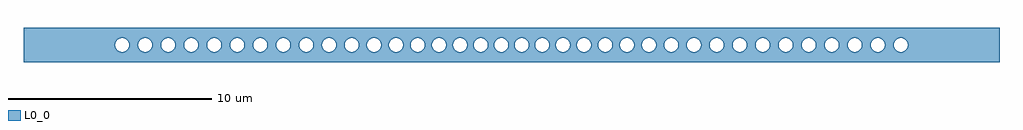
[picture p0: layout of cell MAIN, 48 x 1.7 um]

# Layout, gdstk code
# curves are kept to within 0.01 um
import gdstk
lib = gdstk.Library(unit=1e-6, precision=1e-09)
def P(c, l, *ps):  # polygons
    for p in ps: c.add(gdstk.Polygon(p, *l))
L0_0 = (0, 0)

main = lib.new_cell('MAIN')
P(main, L0_0, [(-19.181,-0.352),(-19.303,-0.318),(-19.409,-0.239),(-19.409,-0.85),(-19.181,-0.85)],
  [(-19.171,0.353),(-19.04,0.337),(-18.924,0.274),(-18.842,0.177),(-18.802,0.068),(-18.802,0.85),(-19.181,0.85),(-19.181,0.352)],
  [(-18.802,-0.068),(-18.842,-0.177),(-18.924,-0.274),(-19.04,-0.337),(-19.181,-0.352),(-19.181,-0.85),(-18.802,-0.85)],
  [(24,0.85),(19.411,0.85),(19.411,0.237),(19.479,0.125),(19.502,0.016),(19.483,-0.115),(19.411,-0.237),(19.411,-0.85),(24,-0.85)],
  [(-18.112,0.34),(-17.991,0.353),(-17.859,0.317),(-17.757,0.241),(-17.689,0.134),(-17.689,0.85),(-18.122,0.85),(-18.122,0.337)],
  [(-17.689,-0.134),(-17.757,-0.241),(-17.859,-0.317),(-17.991,-0.353),(-18.122,-0.337),(-18.122,-0.85),(-17.689,-0.85)],
  [(-17.663,-0.011),(-17.689,-0.134),(-17.689,-0.85),(-17.057,-0.85),(-17.057,-0.308),(-17.126,-0.258),(-17.186,-0.184),(-17.221,-0.107),(-17.237,-0.019),(-17.227,0.087),(-17.199,0.161),(-17.141,0.243),(-17.057,0.308),(-17.057,0.85),(-17.689,0.85),(-17.689,0.134)],
  [(-17.048,0.313),(-16.943,0.349),(-16.801,0.344),(-16.685,0.293),(-16.592,0.2),(-16.592,0.85),(-17.057,0.85)],
  [(-16.592,-0.2),(-16.685,-0.293),(-16.801,-0.344),(-16.943,-0.349),(-17.057,-0.308),(-17.057,-0.85),(-16.592,-0.85)],
  [(-16.53,-0.011),(-16.549,-0.115),(-16.592,-0.2),(-16.592,-0.85),(-15.986,-0.85),(-15.986,-0.265),(-16.069,-0.156),(-16.105,-0.019),(-16.1,0.061),(-16.073,0.147),(-15.986,0.265),(-15.986,0.85),(-16.592,0.85),(-16.592,0.2),(-16.544,0.099)],
  [(-15.977,0.272),(-15.882,0.329),(-15.747,0.354),(-15.618,0.328),(-15.508,0.256),(-15.508,0.85),(-15.986,0.85)],
  [(-15.508,-0.256),(-15.618,-0.328),(-15.747,-0.354),(-15.882,-0.329),(-15.986,-0.265),(-15.986,-0.85),(-15.508,-0.85)],
  [(-18.37,0.003),(-18.35,0.117),(-18.297,0.215),(-18.23,0.282),(-18.122,0.337),(-18.122,0.85),(-18.802,0.85),(-18.795,0)],
  [(-14.897,0.219),(-14.802,0.303),(-14.679,0.349),(-14.536,0.344),(-14.434,0.301),(-14.434,0.85),(-14.9,0.85)],
  [(-14.434,-0.301),(-14.536,-0.344),(-14.679,-0.349),(-14.807,-0.3),(-14.9,-0.215),(-14.9,-0.85),(-14.434,-0.85)],
  [(-14.973,0.003),(-14.953,0.117),(-14.9,0.215),(-14.9,0.85),(-15.508,0.85),(-15.508,0.256),(-15.426,0.139),(-15.398,0)],
  [(-13.804,0.156),(-13.729,0.258),(-13.618,0.329),(-13.488,0.354),(-13.364,0.331),(-13.364,0.85),(-13.806,0.85)],
  [(-13.364,-0.331),(-13.488,-0.354),(-13.618,-0.329),(-13.729,-0.258),(-13.806,-0.151),(-13.806,-0.85),(-13.364,-0.85)],
  [(-13.133,-0.011),(-13.152,-0.115),(-13.204,-0.213),(-13.288,-0.293),(-13.364,-0.331),(-13.364,-0.85),(-12.699,-0.85),(-12.699,0.85),(-13.364,0.85),(-13.364,0.331),(-13.263,0.274),(-13.195,0.2),(-13.152,0.115)],
  [(-12.697,0.087),(-12.645,0.202),(-12.56,0.288),(-12.43,0.346),(-12.303,0.35),(-12.303,0.85),(-12.699,0.85)],
  [(-12.303,-0.35),(-12.43,-0.346),(-12.56,-0.288),(-12.645,-0.202),(-12.699,-0.081),(-12.699,-0.85),(-12.303,-0.85)],
  [(-13.84,0.003),(-13.806,0.151),(-13.806,0.85),(-14.434,0.85),(-14.434,0.301),(-14.36,0.241),(-14.313,0.177),(-14.278,0.094),(-14.266,0)],
  [(-11.575,0.019),(-11.544,0.147),(-11.483,0.239),(-11.377,0.318),(-11.245,0.353),(-11.245,0.85),(-11.576,0.85)],
  [(-11.245,-0.353),(-11.377,-0.318),(-11.483,-0.239),(-11.544,-0.147),(-11.576,-0.013),(-11.576,-0.85),(-11.245,-0.85)],
  [(-11.234,0.353),(-11.114,0.337),(-10.998,0.274),(-10.916,0.177),(-10.873,0.053),(-10.873,0.85),(-11.245,0.85),(-11.245,0.353)],
  [(-10.873,-0.053),(-10.916,-0.177),(-10.998,-0.274),(-11.114,-0.337),(-11.245,-0.353),(-11.245,-0.85),(-10.873,-0.85)],
  [(-10.869,-0.011),(-10.873,-0.85),(-10.188,-0.85),(-10.188,-0.34),(-10.298,-0.288),(-10.374,-0.215),(-10.423,-0.127),(-10.446,-0.019),(-10.43,0.107),(-10.374,0.215),(-10.298,0.288),(-10.188,0.34),(-10.188,0.85),(-10.873,0.85)],
  [(-10.178,0.343),(-10.046,0.351),(-9.935,0.317),(-9.837,0.245),(-9.762,0.125),(-9.762,0.85),(-10.188,0.85),(-10.188,0.34)],
  [(-9.762,-0.125),(-9.837,-0.245),(-9.935,-0.317),(-10.067,-0.353),(-10.188,-0.34),(-10.188,-0.85),(-9.762,-0.85)],
  [(-11.576,0.003),(-11.576,0.85),(-12.303,0.85),(-12.303,0.35),(-12.179,0.307),(-12.078,0.221),(-12.02,0.115),(-12.001,0)],
  [(-9.12,0.32),(-8.993,0.353),(-8.872,0.34),(-8.767,0.29),(-8.672,0.191),(-8.672,0.85),(-9.13,0.85),(-9.13,0.315)],
  [(-8.672,-0.191),(-8.767,-0.29),(-8.872,-0.34),(-9.014,-0.351),(-9.13,-0.315),(-9.13,-0.85),(-8.672,-0.85)],
  [(-9.324,0.003),(-9.312,0.092),(-9.272,0.184),(-9.212,0.258),(-9.13,0.315),(-9.13,0.85),(-9.762,0.85),(-9.762,0.125),(-9.739,0)],
  [(-8.072,0.282),(-7.949,0.342),(-7.833,0.353),(-7.701,0.317),(-7.604,0.245),(-7.604,0.85),(-8.081,0.85)],
  [(-7.604,-0.245),(-7.701,-0.317),(-7.833,-0.353),(-7.969,-0.336),(-8.081,-0.275),(-8.081,-0.85),(-7.604,-0.85)],
  [(-7.505,-0.011),(-7.54,-0.154),(-7.604,-0.245),(-7.604,-0.85),(-7.035,-0.85),(-7.035,-0.223),(-7.093,-0.122),(-7.114,-0.024),(-7.098,0.107),(-7.035,0.223),(-7.035,0.85),(-7.604,0.85),(-7.604,0.245),(-7.524,0.115)],
  [(-7.032,0.227),(-6.944,0.303),(-6.82,0.349),(-6.678,0.344),(-6.562,0.293),(-6.562,0.85),(-7.035,0.85)],
  [(-6.562,-0.293),(-6.678,-0.344),(-6.82,-0.349),(-6.944,-0.303),(-7.035,-0.223),(-7.035,-0.85),(-6.562,-0.85)],
  [(-8.212,0.003),(-8.183,0.142),(-8.14,0.215),(-8.081,0.275),(-8.081,0.85),(-8.672,0.85),(-8.672,0.191),(-8.629,0.094),(-8.617,0)],
  [(-5.988,0.17),(-5.921,0.258),(-5.809,0.329),(-5.675,0.354),(-5.545,0.328),(-5.545,0.85),(-5.991,0.85)],
  [(-5.545,-0.328),(-5.675,-0.354),(-5.809,-0.329),(-5.921,-0.258),(-5.991,-0.166),(-5.991,-0.85),(-5.545,-0.85)],
  [(-6.032,0.003),(-6.019,0.097),(-5.991,0.166),(-5.991,0.85),(-6.562,0.85),(-6.562,0.293),(-6.452,0.173),(-6.417,0.084),(-6.407,0)],
  [(-4.951,0.102),(-4.891,0.219),(-4.796,0.303),(-4.683,0.347),(-4.551,0.348),(-4.551,0.85),(-4.953,0.85)],
  [(-4.551,-0.348),(-4.683,-0.347),(-4.796,-0.303),(-4.891,-0.219),(-4.953,-0.097),(-4.953,-0.85),(-4.551,-0.85)],
  [(-4.966,0.003),(-4.953,0.097),(-4.953,0.85),(-5.545,0.85),(-5.545,0.328),(-5.455,0.274),(-5.387,0.2),(-5.342,0.109),(-5.325,0)],
  [(-3.916,0.029),(-3.888,0.142),(-3.806,0.258),(-3.699,0.327),(-3.57,0.353),(-3.57,0.85),(-3.916,0.85)],
  [(-3.57,-0.353),(-3.699,-0.327),(-3.806,-0.258),(-3.888,-0.142),(-3.916,-0.024),(-3.916,-0.85),(-3.57,-0.85)],
  [(-3.56,0.354),(-3.43,0.328),(-3.324,0.26),(-3.252,0.168),(-3.213,0.042),(-3.213,0.85),(-3.57,0.85),(-3.57,0.353)],
  [(-3.213,-0.042),(-3.252,-0.168),(-3.34,-0.274),(-3.455,-0.337),(-3.57,-0.353),(-3.57,-0.85),(-3.213,-0.85)],
  [(-3.917,0.003),(-3.916,0.85),(-4.551,0.85),(-4.551,0.348),(-4.437,0.307),(-4.34,0.225),(-4.278,0.115),(-4.259,0)],
  [(-2.6,0.347),(-2.484,0.351),(-2.354,0.307),(-2.247,0.213),(-2.194,0.109),(-2.194,0.85),(-2.61,0.85),(-2.61,0.344)],
  [(-2.194,-0.109),(-2.247,-0.213),(-2.354,-0.307),(-2.484,-0.351),(-2.61,-0.344),(-2.61,-0.85),(-2.194,-0.85)],
  [(-2.177,-0.011),(-2.194,-0.109),(-2.194,-0.85),(-1.66,-0.85),(-1.66,-0.32),(-1.728,-0.279),(-1.8,-0.202),(-1.844,-0.117),(-1.863,-0.024),(-1.853,0.087),(-1.815,0.179),(-1.752,0.258),(-1.66,0.32),(-1.66,0.85),(-2.194,0.85),(-2.194,0.109)],
  [(-1.65,0.324),(-1.532,0.353),(-1.402,0.337),(-1.286,0.274),(-1.204,0.177),(-1.204,0.85),(-1.66,0.85),(-1.66,0.32)],
  [(-1.204,-0.177),(-1.286,-0.274),(-1.402,-0.337),(-1.532,-0.353),(-1.66,-0.32),(-1.66,-0.85),(-1.204,-0.85)],
  [(-2.883,0.003),(-2.864,0.117),(-2.808,0.219),(-2.713,0.303),(-2.61,0.344),(-2.61,0.85),(-3.213,0.85),(-3.21,0)],
  [(-0.702,0.291),(-0.576,0.346),(-0.455,0.351),(-0.334,0.312),(-0.239,0.237),(-0.239,0.85),(-0.71,0.85)],
  [(-0.239,-0.237),(-0.334,-0.312),(-0.455,-0.351),(-0.576,-0.346),(-0.71,-0.285),(-0.71,-0.85),(-0.239,-0.85)],
  [(-0.854,0.003),(-0.816,0.161),(-0.71,0.285),(-0.71,0.85),(-1.204,0.85),(-1.204,0.177),(-1.169,0.094),(-1.156,0)],
  [(0.24,0.239),(0.346,0.318),(0.457,0.351),(0.584,0.344),(0.708,0.286),(0.708,0.85),(0.237,0.85)],
  [(0.708,-0.286),(0.584,-0.344),(0.457,-0.351),(0.327,-0.308),(0.237,-0.235),(0.237,-0.85),(0.708,-0.85)],
  [(0.147,0.003),(0.167,0.117),(0.237,0.235),(0.237,0.85),(-0.239,0.85),(-0.239,0.237),(-0.166,0.115),(-0.147,0)],
  [(1.205,0.179),(1.292,0.279),(1.399,0.336),(1.535,0.353),(1.658,0.321),(1.658,0.85),(1.203,0.85)],
  [(1.658,-0.321),(1.535,-0.353),(1.399,-0.336),(1.292,-0.279),(1.203,-0.175),(1.203,-0.85),(1.658,-0.85)],
  [(1.863,-0.011),(1.848,-0.104),(1.808,-0.191),(1.734,-0.274),(1.658,-0.321),(1.658,-0.85),(2.193,-0.85),(2.193,-0.107),(2.176,-0.008),(2.193,0.107),(2.193,0.85),(1.658,0.85),(1.658,0.321),(1.734,0.274),(1.808,0.191),(1.851,0.094)],
  [(2.195,0.112),(2.252,0.219),(2.347,0.303),(2.471,0.349),(2.607,0.345),(2.607,0.85),(2.193,0.85)],
  [(2.607,-0.345),(2.471,-0.349),(2.347,-0.303),(2.252,-0.219),(2.193,-0.107),(2.193,-0.85),(2.607,-0.85)],
  [(1.156,0.003),(1.171,0.102),(1.203,0.175),(1.203,0.85),(0.708,0.85),(0.708,0.286),(0.815,0.163),(0.846,0.079),(0.854,0)],
  [(3.213,0.045),(3.256,0.175),(3.346,0.279),(3.453,0.336),(3.568,0.354),(3.568,0.85),(3.212,0.85)],
  [(3.568,-0.354),(3.433,-0.329),(3.322,-0.258),(3.251,-0.166),(3.212,-0.04),(3.212,-0.85),(3.568,-0.85)],
  [(3.916,0.85),(3.568,0.85),(3.568,0.354),(3.697,0.328),(3.804,0.26),(3.882,0.154),(3.916,0.026)],
  [(3.916,-0.026),(3.882,-0.154),(3.804,-0.26),(3.697,-0.328),(3.568,-0.354),(3.568,-0.85),(3.916,-0.85)],
  [(3.21,0.003),(3.212,0.85),(2.607,0.85),(2.607,0.345),(2.711,0.304),(2.803,0.225),(2.863,0.12),(2.883,0)],
  [(4.559,0.349),(4.696,0.344),(4.807,0.296),(4.905,0.2),(4.952,0.099),(4.952,0.85),(4.548,0.85),(4.548,0.348)],
  [(4.952,-0.099),(4.905,-0.2),(4.807,-0.296),(4.696,-0.344),(4.548,-0.348),(4.548,-0.85),(4.952,-0.85)],
  [(4.259,0.003),(4.279,0.117),(4.338,0.223),(4.43,0.303),(4.548,0.348),(4.548,0.85),(3.916,0.85),(3.917,0)],
  [(5.553,0.33),(5.683,0.354),(5.812,0.328),(5.919,0.26),(5.99,0.168),(5.99,0.85),(5.543,0.85),(5.543,0.327)],
  [(5.99,-0.168),(5.903,-0.274),(5.787,-0.337),(5.677,-0.354),(5.543,-0.327),(5.543,-0.85),(5.99,-0.85)],
  [(5.325,0.003),(5.343,0.112),(5.388,0.202),(5.461,0.279),(5.543,0.327),(5.543,0.85),(4.952,0.85),(4.952,0.099),(4.966,0)],
  [(6.569,0.297),(6.686,0.346),(6.807,0.351),(6.928,0.312),(7.034,0.225),(7.034,0.85),(6.56,0.85)],
  [(7.034,-0.225),(6.928,-0.312),(6.807,-0.351),(6.686,-0.346),(6.56,-0.291),(6.56,-0.85),(7.034,-0.85)],
  [(7.114,-0.011),(7.094,-0.12),(7.034,-0.225),(7.034,-0.85),(7.602,-0.85),(7.602,-0.243),(7.537,-0.147),(7.505,-0.013),(7.523,0.112),(7.602,0.243),(7.602,0.85),(7.034,0.85),(7.034,0.225),(7.094,0.12)],
  [(7.605,0.247),(7.723,0.327),(7.836,0.353),(7.967,0.337),(8.078,0.277),(8.078,0.85),(7.602,0.85)],
  [(8.078,-0.277),(7.967,-0.337),(7.836,-0.353),(7.708,-0.32),(7.602,-0.243),(7.602,-0.85),(8.078,-0.85)],
  [(6.407,0.003),(6.419,0.092),(6.448,0.166),(6.56,0.291),(6.56,0.85),(5.99,0.85),(5.99,0.168),(6.021,0.089),(6.032,0)],
  [(8.674,0.193),(8.752,0.279),(8.869,0.339),(8.995,0.353),(9.127,0.317),(9.127,0.85),(8.671,0.85)],
  [(9.127,-0.317),(8.995,-0.353),(8.869,-0.339),(8.752,-0.279),(8.671,-0.188),(8.671,-0.85),(9.127,-0.85)],
  [(8.617,0.003),(8.627,0.087),(8.671,0.188),(8.671,0.85),(8.078,0.85),(8.078,0.277),(8.177,0.154),(8.212,0)],
  [(9.763,0.127),(9.828,0.235),(9.928,0.313),(10.049,0.351),(10.186,0.341),(10.186,0.85),(9.761,0.85)],
  [(10.186,-0.341),(10.049,-0.351),(9.928,-0.313),(9.828,-0.235),(9.761,-0.122),(9.761,-0.85),(10.186,-0.85)],
  [(10.446,-0.011),(10.422,-0.129),(10.369,-0.221),(10.287,-0.296),(10.186,-0.341),(10.186,-0.85),(10.872,-0.85),(10.872,0.85),(10.186,0.85),(10.186,0.341),(10.287,0.296),(10.375,0.213),(10.429,0.109)],
  [(10.873,0.055),(10.92,0.184),(11.004,0.279),(11.111,0.336),(11.242,0.353),(11.242,0.85),(10.872,0.85)],
  [(11.242,-0.353),(11.111,-0.336),(11.004,-0.279),(10.92,-0.184),(10.872,-0.05),(10.872,-0.85),(11.242,-0.85)],
  [(11.575,0.85),(11.242,0.85),(11.242,0.353),(11.38,0.317),(11.474,0.249),(11.541,0.154),(11.575,0.016)],
  [(11.575,-0.016),(11.541,-0.154),(11.474,-0.249),(11.38,-0.317),(11.242,-0.353),(11.242,-0.85),(11.575,-0.85)],
  [(9.739,0.003),(9.761,0.122),(9.761,0.85),(9.127,0.85),(9.127,0.317),(9.21,0.26),(9.268,0.191),(9.305,0.115),(9.324,0)],
  [(12.311,0.351),(12.437,0.344),(12.549,0.296),(12.637,0.213),(12.698,0.084),(12.698,0.85),(12.3,0.85),(12.3,0.349)],
  [(12.698,-0.084),(12.637,-0.213),(12.549,-0.296),(12.437,-0.344),(12.3,-0.349),(12.3,-0.85),(12.698,-0.85)],
  [(12.708,-0.011),(12.698,-0.85),(13.361,-0.85),(13.361,-0.33),(13.273,-0.282),(13.206,-0.215),(13.153,-0.117),(13.133,-0.008),(13.148,0.102),(13.197,0.202),(13.269,0.279),(13.361,0.33),(13.361,0.85),(12.698,0.85)],
  [(13.371,0.334),(13.491,0.354),(13.62,0.328),(13.727,0.26),(13.805,0.154),(13.805,0.85),(13.361,0.85),(13.361,0.33)],
  [(13.805,-0.154),(13.727,-0.26),(13.62,-0.328),(13.491,-0.354),(13.361,-0.33),(13.361,-0.85),(13.805,-0.85)],
  [(12.001,0.003),(12.019,0.112),(12.09,0.235),(12.19,0.313),(12.3,0.349),(12.3,0.85),(11.575,0.85),(11.576,0)],
  [(14.441,0.305),(14.56,0.349),(14.692,0.346),(14.818,0.293),(14.898,0.217),(14.898,0.85),(14.432,0.85)],
  [(14.898,-0.217),(14.795,-0.307),(14.671,-0.35),(14.544,-0.346),(14.432,-0.3),(14.432,-0.85),(14.898,-0.85)],
  [(14.266,0.003),(14.276,0.087),(14.309,0.17),(14.362,0.243),(14.432,0.3),(14.432,0.85),(13.805,0.85),(13.805,0.154),(13.84,0)],
  [(15.51,0.258),(15.616,0.327),(15.75,0.354),(15.885,0.328),(15.984,0.267),(15.984,0.85),(15.506,0.85)],
  [(15.984,-0.267),(15.885,-0.328),(15.75,-0.354),(15.616,-0.327),(15.506,-0.254),(15.506,-0.85),(15.984,-0.85)],
  [(16.105,-0.011),(16.07,-0.154),(15.984,-0.267),(15.984,-0.85),(16.59,-0.85),(16.59,-0.197),(16.548,-0.112),(16.53,-0.013),(16.542,0.092),(16.59,0.197),(16.59,0.85),(15.984,0.85),(15.984,0.267),(16.07,0.154)],
  [(16.593,0.202),(16.687,0.294),(16.809,0.346),(16.93,0.351),(17.055,0.309),(17.055,0.85),(16.59,0.85)],
  [(17.055,-0.309),(16.93,-0.351),(16.809,-0.346),(16.687,-0.294),(16.59,-0.197),(16.59,-0.85),(17.055,-0.85)],
  [(17.237,-0.011),(17.222,-0.104),(17.187,-0.182),(17.124,-0.26),(17.055,-0.309),(17.055,-0.85),(17.688,-0.85),(17.688,-0.132),(17.663,-0.024),(17.688,0.132),(17.688,0.85),(17.055,0.85),(17.055,0.309),(17.124,0.26),(17.19,0.177),(17.23,0.074)],
  [(17.69,0.137),(17.759,0.243),(17.88,0.327),(18.015,0.354),(18.119,0.338),(18.119,0.85),(17.688,0.85)],
  [(18.119,-0.338),(17.994,-0.353),(17.861,-0.318),(17.759,-0.243),(17.688,-0.132),(17.688,-0.85),(18.119,-0.85)],
  [(15.398,0.003),(15.425,0.137),(15.506,0.254),(15.506,0.85),(14.898,0.85),(14.898,0.217),(14.954,0.115),(14.973,0)],
  [(18.802,0.071),(18.846,0.184),(18.943,0.288),(19.058,0.342),(19.179,0.352),(19.179,0.85),(18.801,0.85)],
  [(19.179,-0.352),(19.058,-0.342),(18.931,-0.279),(18.846,-0.184),(18.801,-0.066),(18.801,-0.85),(19.179,-0.85)],
  [(-19.409,-0.239),(-19.47,-0.147),(-19.502,-0.013),(-19.484,0.112),(-19.409,0.239),(-19.409,0.85),(-24,0.85),(-24,-0.85),(-19.409,-0.85)],
  [(-19.405,0.243),(-19.303,0.318),(-19.181,0.352),(-19.181,0.85),(-19.409,0.85)],
  [(19.411,0.85),(19.179,0.85),(19.179,0.352),(19.306,0.317),(19.411,0.237)],
  [(19.411,-0.237),(19.306,-0.317),(19.179,-0.352),(19.179,-0.85),(19.411,-0.85)],
  [(-18.122,-0.337),(-18.23,-0.282),(-18.297,-0.215),(-18.35,-0.117),(-18.37,0),(-18.795,0),(-18.802,-0.85),(-18.122,-0.85)],
  [(-14.9,-0.215),(-14.953,-0.117),(-14.973,0),(-15.398,0),(-15.426,-0.139),(-15.508,-0.256),(-15.508,-0.85),(-14.9,-0.85)],
  [(-13.806,-0.151),(-13.84,0),(-14.266,0),(-14.278,-0.094),(-14.313,-0.177),(-14.36,-0.241),(-14.434,-0.301),(-14.434,-0.85),(-13.806,-0.85)],
  [(-11.576,-0.013),(-11.576,0),(-12.001,0),(-12.02,-0.115),(-12.078,-0.221),(-12.179,-0.307),(-12.303,-0.35),(-12.303,-0.85),(-11.576,-0.85)],
  [(-9.13,-0.315),(-9.212,-0.258),(-9.272,-0.184),(-9.312,-0.092),(-9.324,0),(-9.739,0),(-9.762,-0.125),(-9.762,-0.85),(-9.13,-0.85)],
  [(-8.081,-0.275),(-8.14,-0.215),(-8.183,-0.142),(-8.212,0),(-8.617,0),(-8.629,-0.094),(-8.672,-0.191),(-8.672,-0.85),(-8.081,-0.85)],
  [(-5.991,-0.166),(-6.023,-0.081),(-6.032,0),(-6.407,0),(-6.417,-0.084),(-6.452,-0.173),(-6.562,-0.293),(-6.562,-0.85),(-5.991,-0.85)],
  [(-4.953,-0.097),(-4.966,0),(-5.325,0),(-5.342,-0.109),(-5.387,-0.2),(-5.455,-0.274),(-5.545,-0.328),(-5.545,-0.85),(-4.953,-0.85)],
  [(-3.916,-0.024),(-3.917,0),(-4.259,0),(-4.278,-0.115),(-4.34,-0.225),(-4.437,-0.307),(-4.551,-0.348),(-4.551,-0.85),(-3.916,-0.85)],
  [(-2.61,-0.344),(-2.713,-0.303),(-2.808,-0.219),(-2.864,-0.117),(-2.883,0),(-3.21,0),(-3.213,-0.85),(-2.61,-0.85)],
  [(-0.71,-0.285),(-0.816,-0.161),(-0.844,-0.087),(-0.854,0),(-1.156,0),(-1.169,-0.094),(-1.204,-0.177),(-1.204,-0.85),(-0.71,-0.85)],
  [(0.237,-0.235),(0.167,-0.117),(0.147,0),(-0.147,0),(-0.166,-0.115),(-0.239,-0.237),(-0.239,-0.85),(0.237,-0.85)],
  [(1.203,-0.175),(1.171,-0.102),(1.156,0),(0.854,0),(0.846,-0.079),(0.815,-0.163),(0.708,-0.286),(0.708,-0.85),(1.203,-0.85)],
  [(3.212,-0.04),(3.21,0),(2.883,0),(2.863,-0.12),(2.803,-0.225),(2.711,-0.304),(2.607,-0.345),(2.607,-0.85),(3.212,-0.85)],
  [(4.548,-0.348),(4.43,-0.303),(4.338,-0.223),(4.279,-0.117),(4.259,0),(3.917,0),(3.916,-0.85),(4.548,-0.85)],
  [(5.543,-0.327),(5.461,-0.279),(5.388,-0.202),(5.343,-0.112),(5.325,0),(4.966,0),(4.952,-0.099),(4.952,-0.85),(5.543,-0.85)],
  [(6.56,-0.291),(6.448,-0.166),(6.419,-0.092),(6.407,0),(6.032,0),(6.021,-0.089),(5.99,-0.168),(5.99,-0.85),(6.56,-0.85)],
  [(8.671,-0.188),(8.627,-0.087),(8.617,0),(8.212,0),(8.177,-0.154),(8.078,-0.277),(8.078,-0.85),(8.671,-0.85)],
  [(9.761,-0.122),(9.739,0),(9.324,0),(9.305,-0.115),(9.268,-0.191),(9.21,-0.26),(9.127,-0.317),(9.127,-0.85),(9.761,-0.85)],
  [(12.3,-0.349),(12.19,-0.313),(12.09,-0.235),(12.019,-0.112),(12.001,0),(11.576,0),(11.575,-0.85),(12.3,-0.85)],
  [(14.432,-0.3),(14.362,-0.243),(14.304,-0.161),(14.276,-0.087),(14.266,0),(13.84,0),(13.805,-0.154),(13.805,-0.85),(14.432,-0.85)],
  [(15.506,-0.254),(15.425,-0.137),(15.398,0),(14.973,0),(14.954,-0.115),(14.898,-0.217),(14.898,-0.85),(15.506,-0.85)],
  [(18.801,-0.066),(18.795,0),(18.37,0),(18.351,-0.115),(18.299,-0.213),(18.215,-0.293),(18.119,-0.338),(18.119,-0.85),(18.801,-0.85)],
  [(18.795,0.003),(18.801,0.85),(18.119,0.85),(18.119,0.338),(18.215,0.293),(18.299,0.213),(18.351,0.115),(18.37,0)])

lib.write_gds('MAIN.gds')
